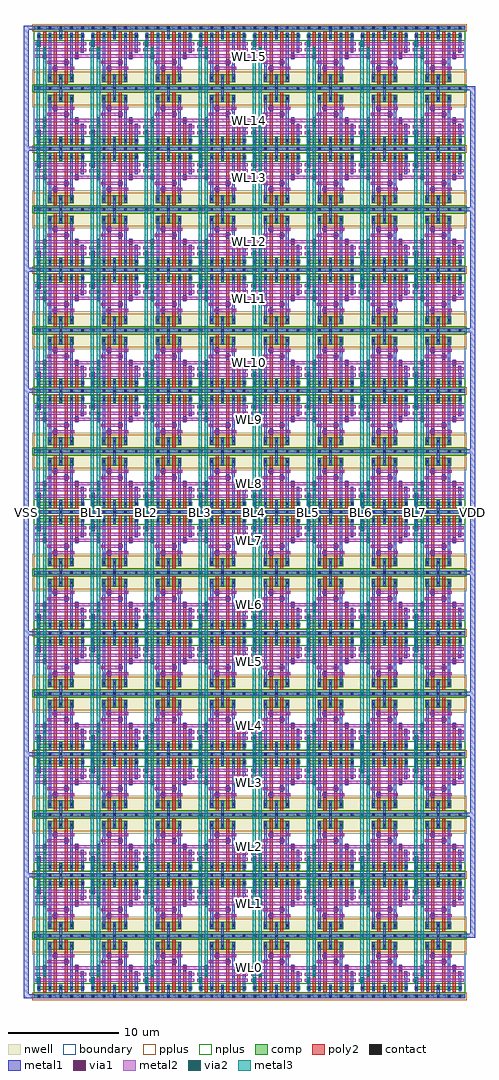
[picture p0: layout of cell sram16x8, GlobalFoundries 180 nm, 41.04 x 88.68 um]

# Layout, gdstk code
import gdstk
lib = gdstk.Library(unit=1e-6, precision=1e-09)
def R(c, l, rs):  # rectangles x0, y0, x1, y1
    for r in rs: c.add(gdstk.rectangle(r[:2], r[2:], *l))
def A(c, l, x, y, w, h, nx, ny, dx, dy):  # array of equal rectangles
    R(c, l, [(x+i*dx, y+j*dy, x+i*dx+w, y+j*dy+h) for i in range(nx) for j in range(ny)])
boundary = (0, 0)
nwell = (21, 0)
comp = (22, 0)
poly2 = (30, 0)
pplus = (31, 0)
nplus = (32, 0)
contact = (33, 0)
metal1 = (34, 0)
via1 = (35, 0)
metal2 = (36, 0)
via2 = (38, 0)
metal3 = (42, 0)

sram6t = lib.new_cell('sram6t')
R(sram6t, boundary, [(0,0,4.9,5.5)])
R(sram6t, nwell, [(-0.12,3.78,5.02,5.8)])
R(sram6t, comp, [(0,-0.18,4.9,0.18), (0.31,0.57,4.59,0.93), (1.29,4.21,3.61,4.93), (0,5.32,4.9,5.68)])
A(sram6t, poly2, 0.84, 0.35, 0.28, 0.8, 4, 1, 0.98, 0)
R(sram6t, poly2, [(0.84,1.15,1.12,2.57), (1.82,1.15,2.1,3.99), (2.8,1.15,3.08,3.99), (3.78,1.15,4.06,2.57), (0.8,2.39,1.16,2.75), (3.74,2.39,4.1,2.75), (2.76,2.95,3.12,3.31), (1.78,3.51,2.14,3.87), (1.82,3.99,2.1,5.15), (2.8,3.99,3.08,5.15)])
R(sram6t, pplus, [(-0.16,-0.34,5.06,0.34), (0,3.98,4.9,5.16)])
R(sram6t, nplus, [(0,0.34,4.9,1.16), (-0.16,5.16,5.06,5.84)])
A(sram6t, contact, 0.38, -0.11, 0.22, 0.22, 5, 2, 0.98, 0.75)
A(sram6t, contact, 1.36, 4.46, 0.22, 0.22, 3, 1, 0.98, 0)
A(sram6t, contact, 0.38, 5.39, 0.22, 0.22, 5, 1, 0.98, 0)
R(sram6t, contact, [(0.87,2.46,1.09,2.68), (3.81,2.46,4.03,2.68), (2.83,3.02,3.05,3.24), (1.85,3.58,2.07,3.8)])
A(sram6t, metal1, 0.375, 0.435, 0.23, 0.63, 5, 1, 0.98, 0)
A(sram6t, metal1, 1.355, 4.255, 0.23, 0.63, 3, 1, 0.98, 0)
R(sram6t, metal1, [(0,-0.18,4.9,0.18), (2.335,0,2.565,0.435), (0.375,1.065,0.605,1.45), (1.355,1.065,1.585,3.13), (3.315,1.065,3.545,3.69), (4.295,1.065,4.525,2.01), (0.36,1.17,0.62,1.73), (4.28,1.73,4.54,2.29), (0.85,2.29,1.11,2.85), (3.79,2.29,4.05,2.85), (1.34,2.85,1.6,3.41), (1.34,2.85,1.6,3.41), (2.81,2.85,3.07,3.41), (1.355,3.13,1.585,4.255), (1.83,3.41,2.09,3.97), (3.3,3.41,3.56,3.97), (3.3,3.41,3.56,3.97), (3.315,3.69,3.545,4.255), (2.335,4.885,2.565,5.5), (0,5.32,4.9,5.68)])
R(sram6t, via1, [(0.36,1.32,0.62,1.58), (4.28,1.88,4.54,2.14), (0.85,2.44,1.11,2.7), (3.79,2.44,4.05,2.7), (1.34,3,1.6,3.26), (1.34,3,1.6,3.26), (2.81,3,3.07,3.26), (1.83,3.56,2.09,3.82), (3.3,3.56,3.56,3.82), (3.3,3.56,3.56,3.82)])
A(sram6t, metal2, 0.14, 1.31, 4.62, 0.28, 1, 3, 0, 0.56)
R(sram6t, metal2, [(0.23,1.31,0.75,1.59), (4.15,1.87,4.67,2.15), (0.72,2.43,1.24,2.71), (3.66,2.43,4.18,2.71), (1.21,2.99,1.73,3.27), (1.21,2.99,1.73,3.27), (1.47,2.99,2.94,3.27), (2.68,2.99,3.2,3.27), (1.7,3.55,2.22,3.83), (1.96,3.55,3.43,3.83), (3.17,3.55,3.69,3.83), (3.17,3.55,3.69,3.83)])
sram6t.add(gdstk.Label('VSS', (2.45,0), layer=34, texttype=10))
sram6t.add(gdstk.Label('VDD', (2.45,5.5), layer=34, texttype=10))
sram6t.add(gdstk.Label('BL', (2.45,1.45), layer=36, texttype=10))
sram6t.add(gdstk.Label('BLB', (2.45,2.01), layer=36, texttype=10))
sram6t.add(gdstk.Label('WL', (2.45,2.57), layer=36, texttype=10))

sram16x8 = lib.new_cell('sram16x8')
A(sram16x8, metal1, -0.92, -0.18, 0.92, 0.36, 1, 9, 0, 11)
A(sram16x8, metal1, 39.2, 5.32, 0.92, 0.36, 1, 8, 0, 11)
R(sram16x8, metal1, [(-0.92,-0.18,-0.46,88.18), (39.66,5.32,40.12,82.68)])
A(sram16x8, metal2, 0.16, 1.31, 0.52, 0.28, 8, 2, 4.9, 8.1)
A(sram16x8, metal2, 0.72, 1.87, 0.52, 0.28, 8, 2, 4.9, 6.98)
A(sram16x8, metal2, 4.76, 2.43, 0.28, 0.28, 7, 2, 4.9, 5.86)
A(sram16x8, metal2, 0.16, 12.31, 0.52, 0.28, 8, 2, 4.9, 8.1)
A(sram16x8, metal2, 0.72, 12.87, 0.52, 0.28, 8, 2, 4.9, 6.98)
A(sram16x8, metal2, 4.76, 13.43, 0.28, 0.28, 7, 2, 4.9, 5.86)
A(sram16x8, metal2, 0.16, 23.31, 0.52, 0.28, 8, 2, 4.9, 8.1)
A(sram16x8, metal2, 0.72, 23.87, 0.52, 0.28, 8, 2, 4.9, 6.98)
A(sram16x8, metal2, 4.76, 24.43, 0.28, 0.28, 7, 2, 4.9, 5.86)
A(sram16x8, metal2, 0.16, 34.31, 0.52, 0.28, 8, 2, 4.9, 8.1)
A(sram16x8, metal2, 0.72, 34.87, 0.52, 0.28, 8, 2, 4.9, 6.98)
A(sram16x8, metal2, 4.76, 35.43, 0.28, 0.28, 7, 2, 4.9, 5.86)
A(sram16x8, metal2, 0.16, 45.31, 0.52, 0.28, 8, 2, 4.9, 8.1)
A(sram16x8, metal2, 0.72, 45.87, 0.52, 0.28, 8, 2, 4.9, 6.98)
A(sram16x8, metal2, 4.76, 46.43, 0.28, 0.28, 7, 2, 4.9, 5.86)
A(sram16x8, metal2, 0.16, 56.31, 0.52, 0.28, 8, 2, 4.9, 8.1)
A(sram16x8, metal2, 0.72, 56.87, 0.52, 0.28, 8, 2, 4.9, 6.98)
A(sram16x8, metal2, 4.76, 57.43, 0.28, 0.28, 7, 2, 4.9, 5.86)
A(sram16x8, metal2, 0.16, 67.31, 0.52, 0.28, 8, 2, 4.9, 8.1)
A(sram16x8, metal2, 0.72, 67.87, 0.52, 0.28, 8, 2, 4.9, 6.98)
A(sram16x8, metal2, 4.76, 68.43, 0.28, 0.28, 7, 2, 4.9, 5.86)
A(sram16x8, metal2, 0.16, 78.31, 0.52, 0.28, 8, 2, 4.9, 8.1)
A(sram16x8, metal2, 0.72, 78.87, 0.52, 0.28, 8, 2, 4.9, 6.98)
A(sram16x8, metal2, 4.76, 79.43, 0.28, 0.28, 7, 2, 4.9, 5.86)
A(sram16x8, via2, 0.29, 1.32, 0.26, 0.26, 8, 2, 4.9, 8.1)
A(sram16x8, via2, 0.85, 1.88, 0.26, 0.26, 8, 2, 4.9, 6.98)
A(sram16x8, via2, 0.29, 12.32, 0.26, 0.26, 8, 2, 4.9, 8.1)
A(sram16x8, via2, 0.85, 12.88, 0.26, 0.26, 8, 2, 4.9, 6.98)
A(sram16x8, via2, 0.29, 23.32, 0.26, 0.26, 8, 2, 4.9, 8.1)
A(sram16x8, via2, 0.85, 23.88, 0.26, 0.26, 8, 2, 4.9, 6.98)
A(sram16x8, via2, 0.29, 34.32, 0.26, 0.26, 8, 2, 4.9, 8.1)
A(sram16x8, via2, 0.85, 34.88, 0.26, 0.26, 8, 2, 4.9, 6.98)
A(sram16x8, via2, 0.29, 45.32, 0.26, 0.26, 8, 2, 4.9, 8.1)
A(sram16x8, via2, 0.85, 45.88, 0.26, 0.26, 8, 2, 4.9, 6.98)
A(sram16x8, via2, 0.29, 56.32, 0.26, 0.26, 8, 2, 4.9, 8.1)
A(sram16x8, via2, 0.85, 56.88, 0.26, 0.26, 8, 2, 4.9, 6.98)
A(sram16x8, via2, 0.29, 67.32, 0.26, 0.26, 8, 2, 4.9, 8.1)
A(sram16x8, via2, 0.85, 67.88, 0.26, 0.26, 8, 2, 4.9, 6.98)
A(sram16x8, via2, 0.29, 78.32, 0.26, 0.26, 8, 2, 4.9, 8.1)
A(sram16x8, via2, 0.85, 78.88, 0.26, 0.26, 8, 2, 4.9, 6.98)
A(sram16x8, metal3, 0.28, 1.19, 0.28, 0.52, 8, 2, 4.9, 8.1)
A(sram16x8, metal3, 0.28, 1.45, 0.28, 85.1, 8, 1, 4.9, 0)
A(sram16x8, metal3, 0.84, 1.75, 0.28, 0.52, 8, 2, 4.9, 6.98)
A(sram16x8, metal3, 0.84, 2.01, 0.28, 83.98, 8, 1, 4.9, 0)
A(sram16x8, metal3, 0.28, 12.19, 0.28, 0.52, 8, 2, 4.9, 8.1)
A(sram16x8, metal3, 0.84, 12.75, 0.28, 0.52, 8, 2, 4.9, 6.98)
A(sram16x8, metal3, 0.28, 23.19, 0.28, 0.52, 8, 2, 4.9, 8.1)
A(sram16x8, metal3, 0.84, 23.75, 0.28, 0.52, 8, 2, 4.9, 6.98)
A(sram16x8, metal3, 0.28, 34.19, 0.28, 0.52, 8, 2, 4.9, 8.1)
A(sram16x8, metal3, 0.84, 34.75, 0.28, 0.52, 8, 2, 4.9, 6.98)
A(sram16x8, metal3, 0.28, 45.19, 0.28, 0.52, 8, 2, 4.9, 8.1)
A(sram16x8, metal3, 0.84, 45.75, 0.28, 0.52, 8, 2, 4.9, 6.98)
A(sram16x8, metal3, 0.28, 56.19, 0.28, 0.52, 8, 2, 4.9, 8.1)
A(sram16x8, metal3, 0.84, 56.75, 0.28, 0.52, 8, 2, 4.9, 6.98)
A(sram16x8, metal3, 0.28, 67.19, 0.28, 0.52, 8, 2, 4.9, 8.1)
A(sram16x8, metal3, 0.84, 67.75, 0.28, 0.52, 8, 2, 4.9, 6.98)
A(sram16x8, metal3, 0.28, 78.19, 0.28, 0.52, 8, 2, 4.9, 8.1)
A(sram16x8, metal3, 0.84, 78.75, 0.28, 0.52, 8, 2, 4.9, 6.98)
sram16x8.add(gdstk.Reference(sram6t, (14.7,0)))
sram16x8.add(gdstk.Reference(sram6t, (19.6,0)))
sram16x8.add(gdstk.Reference(sram6t, (14.7,11), x_reflection=True))
sram16x8.add(gdstk.Reference(sram6t, (19.6,11), x_reflection=True))
sram16x8.add(gdstk.Reference(sram6t, (14.7,11)))
sram16x8.add(gdstk.Reference(sram6t, (19.6,11)))
sram16x8.add(gdstk.Reference(sram6t, (14.7,22), x_reflection=True))
sram16x8.add(gdstk.Reference(sram6t, (19.6,22), x_reflection=True))
sram16x8.add(gdstk.Reference(sram6t, (14.7,22)))
sram16x8.add(gdstk.Reference(sram6t, (19.6,22)))
sram16x8.add(gdstk.Reference(sram6t, (14.7,33), x_reflection=True))
sram16x8.add(gdstk.Reference(sram6t, (19.6,33), x_reflection=True))
sram16x8.add(gdstk.Reference(sram6t, (14.7,33)))
sram16x8.add(gdstk.Reference(sram6t, (19.6,33)))
sram16x8.add(gdstk.Reference(sram6t, (0,44), x_reflection=True))
sram16x8.add(gdstk.Reference(sram6t, (4.9,44), x_reflection=True))
sram16x8.add(gdstk.Reference(sram6t, (9.8,44), x_reflection=True))
sram16x8.add(gdstk.Reference(sram6t, (14.7,44), x_reflection=True))
sram16x8.add(gdstk.Reference(sram6t, (19.6,44), x_reflection=True))
sram16x8.add(gdstk.Reference(sram6t, (24.5,44), x_reflection=True))
sram16x8.add(gdstk.Reference(sram6t, (29.4,44), x_reflection=True))
sram16x8.add(gdstk.Reference(sram6t, (34.3,44), x_reflection=True))
sram16x8.add(gdstk.Reference(sram6t, (0,44)))
sram16x8.add(gdstk.Reference(sram6t, (4.9,44)))
sram16x8.add(gdstk.Reference(sram6t, (9.8,44)))
sram16x8.add(gdstk.Reference(sram6t, (14.7,44)))
sram16x8.add(gdstk.Reference(sram6t, (19.6,44)))
sram16x8.add(gdstk.Reference(sram6t, (24.5,44)))
sram16x8.add(gdstk.Reference(sram6t, (29.4,44)))
sram16x8.add(gdstk.Reference(sram6t, (34.3,44)))
sram16x8.add(gdstk.Reference(sram6t, (14.7,55), x_reflection=True))
sram16x8.add(gdstk.Reference(sram6t, (19.6,55), x_reflection=True))
sram16x8.add(gdstk.Reference(sram6t, (14.7,55)))
sram16x8.add(gdstk.Reference(sram6t, (19.6,55)))
sram16x8.add(gdstk.Reference(sram6t, (14.7,66), x_reflection=True))
sram16x8.add(gdstk.Reference(sram6t, (19.6,66), x_reflection=True))
sram16x8.add(gdstk.Reference(sram6t, (14.7,66)))
sram16x8.add(gdstk.Reference(sram6t, (19.6,66)))
sram16x8.add(gdstk.Reference(sram6t, (14.7,77), x_reflection=True))
sram16x8.add(gdstk.Reference(sram6t, (19.6,77), x_reflection=True))
sram16x8.add(gdstk.Reference(sram6t, (14.7,77)))
sram16x8.add(gdstk.Reference(sram6t, (19.6,77)))
sram16x8.add(gdstk.Reference(sram6t, (14.7,88), x_reflection=True))
sram16x8.add(gdstk.Reference(sram6t, (19.6,88), x_reflection=True))
sram16x8.add(gdstk.Reference(sram6t, (34.3,66), x_reflection=True))
sram16x8.add(gdstk.Reference(sram6t, (29.4,55), x_reflection=True))
sram16x8.add(gdstk.Reference(sram6t, (24.5,55)))
sram16x8.add(gdstk.Reference(sram6t, (24.5,66)))
sram16x8.add(gdstk.Reference(sram6t, (29.4,66)))
sram16x8.add(gdstk.Reference(sram6t, (34.3,66)))
sram16x8.add(gdstk.Reference(sram6t, (29.4,55)))
sram16x8.add(gdstk.Reference(sram6t, (34.3,55)))
sram16x8.add(gdstk.Reference(sram6t, (24.5,77), x_reflection=True))
sram16x8.add(gdstk.Reference(sram6t, (29.4,77), x_reflection=True))
sram16x8.add(gdstk.Reference(sram6t, (34.3,77), x_reflection=True))
sram16x8.add(gdstk.Reference(sram6t, (34.3,55), x_reflection=True))
sram16x8.add(gdstk.Reference(sram6t, (24.5,55), x_reflection=True))
sram16x8.add(gdstk.Reference(sram6t, (24.5,77)))
sram16x8.add(gdstk.Reference(sram6t, (29.4,77)))
sram16x8.add(gdstk.Reference(sram6t, (34.3,77)))
sram16x8.add(gdstk.Reference(sram6t, (24.5,66), x_reflection=True))
sram16x8.add(gdstk.Reference(sram6t, (29.4,66), x_reflection=True))
sram16x8.add(gdstk.Reference(sram6t, (24.5,88), x_reflection=True))
sram16x8.add(gdstk.Reference(sram6t, (29.4,88), x_reflection=True))
sram16x8.add(gdstk.Reference(sram6t, (34.3,88), x_reflection=True))
sram16x8.add(gdstk.Reference(sram6t, (9.8,55), x_reflection=True))
sram16x8.add(gdstk.Reference(sram6t, (0,55), x_reflection=True))
sram16x8.add(gdstk.Reference(sram6t, (4.9,55), x_reflection=True))
sram16x8.add(gdstk.Reference(sram6t, (0,55)))
sram16x8.add(gdstk.Reference(sram6t, (0,66)))
sram16x8.add(gdstk.Reference(sram6t, (0,77)))
sram16x8.add(gdstk.Reference(sram6t, (4.9,77)))
sram16x8.add(gdstk.Reference(sram6t, (9.8,77)))
sram16x8.add(gdstk.Reference(sram6t, (4.9,66)))
sram16x8.add(gdstk.Reference(sram6t, (9.8,66)))
sram16x8.add(gdstk.Reference(sram6t, (4.9,55)))
sram16x8.add(gdstk.Reference(sram6t, (0,66), x_reflection=True))
sram16x8.add(gdstk.Reference(sram6t, (4.9,66), x_reflection=True))
sram16x8.add(gdstk.Reference(sram6t, (0,88), x_reflection=True))
sram16x8.add(gdstk.Reference(sram6t, (4.9,88), x_reflection=True))
sram16x8.add(gdstk.Reference(sram6t, (9.8,88), x_reflection=True))
sram16x8.add(gdstk.Reference(sram6t, (9.8,66), x_reflection=True))
sram16x8.add(gdstk.Reference(sram6t, (9.8,55)))
sram16x8.add(gdstk.Reference(sram6t, (0,77), x_reflection=True))
sram16x8.add(gdstk.Reference(sram6t, (4.9,77), x_reflection=True))
sram16x8.add(gdstk.Reference(sram6t, (9.8,77), x_reflection=True))
sram16x8.add(gdstk.Reference(sram6t, (9.8,0)))
sram16x8.add(gdstk.Reference(sram6t, (0,0)))
sram16x8.add(gdstk.Reference(sram6t, (0,33), x_reflection=True))
sram16x8.add(gdstk.Reference(sram6t, (4.9,33), x_reflection=True))
sram16x8.add(gdstk.Reference(sram6t, (9.8,33), x_reflection=True))
sram16x8.add(gdstk.Reference(sram6t, (0,11)))
sram16x8.add(gdstk.Reference(sram6t, (4.9,11)))
sram16x8.add(gdstk.Reference(sram6t, (0,33)))
sram16x8.add(gdstk.Reference(sram6t, (4.9,33)))
sram16x8.add(gdstk.Reference(sram6t, (9.8,33)))
sram16x8.add(gdstk.Reference(sram6t, (9.8,11)))
sram16x8.add(gdstk.Reference(sram6t, (4.9,0)))
sram16x8.add(gdstk.Reference(sram6t, (0,11), x_reflection=True))
sram16x8.add(gdstk.Reference(sram6t, (0,22), x_reflection=True))
sram16x8.add(gdstk.Reference(sram6t, (4.9,22), x_reflection=True))
sram16x8.add(gdstk.Reference(sram6t, (9.8,22), x_reflection=True))
sram16x8.add(gdstk.Reference(sram6t, (4.9,11), x_reflection=True))
sram16x8.add(gdstk.Reference(sram6t, (9.8,11), x_reflection=True))
sram16x8.add(gdstk.Reference(sram6t, (0,22)))
sram16x8.add(gdstk.Reference(sram6t, (4.9,22)))
sram16x8.add(gdstk.Reference(sram6t, (9.8,22)))
sram16x8.add(gdstk.Reference(sram6t, (24.5,22), x_reflection=True))
sram16x8.add(gdstk.Reference(sram6t, (24.5,33), x_reflection=True))
sram16x8.add(gdstk.Reference(sram6t, (29.4,33), x_reflection=True))
sram16x8.add(gdstk.Reference(sram6t, (34.3,33), x_reflection=True))
sram16x8.add(gdstk.Reference(sram6t, (29.4,22), x_reflection=True))
sram16x8.add(gdstk.Reference(sram6t, (34.3,22), x_reflection=True))
sram16x8.add(gdstk.Reference(sram6t, (29.4,11), x_reflection=True))
sram16x8.add(gdstk.Reference(sram6t, (24.5,11)))
sram16x8.add(gdstk.Reference(sram6t, (29.4,11)))
sram16x8.add(gdstk.Reference(sram6t, (24.5,33)))
sram16x8.add(gdstk.Reference(sram6t, (29.4,33)))
sram16x8.add(gdstk.Reference(sram6t, (34.3,33)))
sram16x8.add(gdstk.Reference(sram6t, (34.3,11)))
sram16x8.add(gdstk.Reference(sram6t, (34.3,11), x_reflection=True))
sram16x8.add(gdstk.Reference(sram6t, (24.5,22)))
sram16x8.add(gdstk.Reference(sram6t, (29.4,22)))
sram16x8.add(gdstk.Reference(sram6t, (34.3,22)))
sram16x8.add(gdstk.Reference(sram6t, (34.3,0)))
sram16x8.add(gdstk.Reference(sram6t, (24.5,0)))
sram16x8.add(gdstk.Reference(sram6t, (29.4,0)))
sram16x8.add(gdstk.Reference(sram6t, (24.5,11), x_reflection=True))
sram16x8.add(gdstk.Label('VSS', (-0.69,44), layer=34, texttype=10))
sram16x8.add(gdstk.Label('VDD', (39.89,44), layer=34, texttype=10))
sram16x8.add(gdstk.Label('BL0', (0.42,44), layer=42, texttype=10))
sram16x8.add(gdstk.Label('BL1', (5.32,44), layer=42, texttype=10))
sram16x8.add(gdstk.Label('BL2', (10.22,44), layer=42, texttype=10))
sram16x8.add(gdstk.Label('BL3', (15.12,44), layer=42, texttype=10))
sram16x8.add(gdstk.Label('BL4', (20.02,44), layer=42, texttype=10))
sram16x8.add(gdstk.Label('BL5', (24.92,44), layer=42, texttype=10))
sram16x8.add(gdstk.Label('BL6', (29.82,44), layer=42, texttype=10))
sram16x8.add(gdstk.Label('BL7', (34.72,44), layer=42, texttype=10))
sram16x8.add(gdstk.Label('BLB0', (0.98,44), layer=42, texttype=10))
sram16x8.add(gdstk.Label('BLB1', (5.88,44), layer=42, texttype=10))
sram16x8.add(gdstk.Label('BLB2', (10.78,44), layer=42, texttype=10))
sram16x8.add(gdstk.Label('BLB3', (15.68,44), layer=42, texttype=10))
sram16x8.add(gdstk.Label('BLB4', (20.58,44), layer=42, texttype=10))
sram16x8.add(gdstk.Label('BLB5', (25.48,44), layer=42, texttype=10))
sram16x8.add(gdstk.Label('BLB6', (30.38,44), layer=42, texttype=10))
sram16x8.add(gdstk.Label('BLB7', (35.28,44), layer=42, texttype=10))
sram16x8.add(gdstk.Label('WL0', (19.6,2.57), layer=36, texttype=10))
sram16x8.add(gdstk.Label('WL1', (19.6,8.43), layer=36, texttype=10))
sram16x8.add(gdstk.Label('WL10', (19.6,57.57), layer=36, texttype=10))
sram16x8.add(gdstk.Label('WL11', (19.6,63.43), layer=36, texttype=10))
sram16x8.add(gdstk.Label('WL12', (19.6,68.57), layer=36, texttype=10))
sram16x8.add(gdstk.Label('WL13', (19.6,74.43), layer=36, texttype=10))
sram16x8.add(gdstk.Label('WL14', (19.6,79.57), layer=36, texttype=10))
sram16x8.add(gdstk.Label('WL15', (19.6,85.43), layer=36, texttype=10))
sram16x8.add(gdstk.Label('WL2', (19.6,13.57), layer=36, texttype=10))
sram16x8.add(gdstk.Label('WL3', (19.6,19.43), layer=36, texttype=10))
sram16x8.add(gdstk.Label('WL4', (19.6,24.57), layer=36, texttype=10))
sram16x8.add(gdstk.Label('WL5', (19.6,30.43), layer=36, texttype=10))
sram16x8.add(gdstk.Label('WL6', (19.6,35.57), layer=36, texttype=10))
sram16x8.add(gdstk.Label('WL7', (19.6,41.43), layer=36, texttype=10))
sram16x8.add(gdstk.Label('WL8', (19.6,46.57), layer=36, texttype=10))
sram16x8.add(gdstk.Label('WL9', (19.6,52.43), layer=36, texttype=10))

lib.write_gds('sram16x8.gds')
